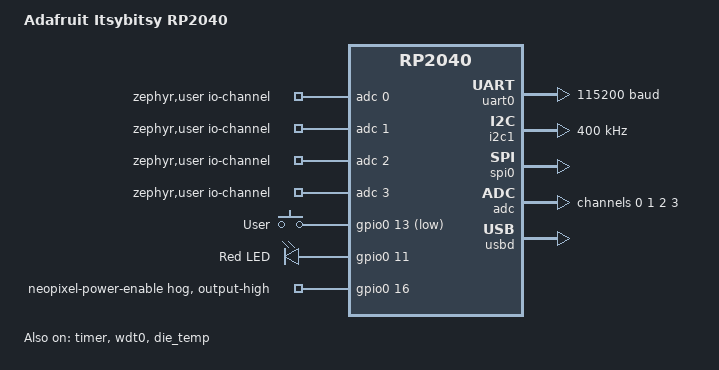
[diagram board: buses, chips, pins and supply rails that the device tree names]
/*
 * Copyright (c) 2021 Yonatan Schachter
 * Copyright (c) 2022 Peter Johanson
 * Copyright (c) 2025 Jonas Berg
 *
 * SPDX-License-Identifier: Apache-2.0
 */

/dts-v1/;

#include <raspberrypi/rpi_pico/rp2040.dtsi>
#include <dt-bindings/pinctrl/rpi-pico-rp2040-pinctrl.h>
#include <zephyr/dt-bindings/input/input-event-codes.h>
#include <zephyr/dt-bindings/led/led.h>
#include "adafruit_itsybitsy_rp2040-pinctrl.dtsi"

/ {
	model = "Adafruit Itsybitsy RP2040";
	compatible = "adafruit,itsybitsy_rp2040";

	chosen {
		zephyr,sram = &sram0;
		zephyr,flash = &flash0;
		zephyr,flash-controller = &ssi;
		zephyr,console = &uart0;
		zephyr,shell-uart = &uart0;
		zephyr,code-partition = &code_partition;
	};

	aliases {
		watchdog0 = &wdt0;
		led-strip = &ws2812;
		led0 = &red_led;
		sw0 = &user_button;
	};

	zephyr,user {
		io-channels = <&adc 0>, <&adc 1>, <&adc 2>, <&adc 3>;
	};

	gpio_keys {
		compatible = "gpio-keys";

		user_button: button {
			label = "User";
			gpios = <&gpio0 13 (GPIO_ACTIVE_LOW | GPIO_PULL_UP)>;
			zephyr,code = <INPUT_KEY_0>;
		};
	};

	leds: leds {
		compatible = "gpio-leds";

		red_led: red_led {
			gpios = <&gpio0 11 GPIO_ACTIVE_HIGH>;
			label = "Red LED";
		};
	};
};

&flash0 {
	reg = <0x10000000 DT_SIZE_M(8)>;

	partitions {
		compatible = "fixed-partitions";
		#address-cells = <1>;
		#size-cells = <1>;

		/* Reserved memory for the second stage bootloader */
		second_stage_bootloader: partition@0 {
			label = "second_stage_bootloader";
			reg = <0x00000000 0x100>;
			read-only;
		};

		/*
		 * Usable flash. Starts at 0x100, after the bootloader. The partition
		 * size is 8 MB minus the 0x100 bytes taken by the bootloader.
		 */
		code_partition: partition@100 {
			label = "code-partition";
			reg = <0x100 (DT_SIZE_M(8) - 0x100)>;
			read-only;
		};
	};
};

&gpio0 {
	status = "okay";

	/* Power to Neopixel */
	neopixel-power-enable {
		gpio-hog;
		gpios = <16 GPIO_ACTIVE_HIGH>;
		output-high;
	};
};

&uart0 {
	current-speed = <115200>;
	status = "okay";
	pinctrl-0 = <&uart0_default>;
	pinctrl-names = "default";
};

zephyr_i2c: &i2c1 {
	status = "okay";
	pinctrl-0 = <&i2c1_default>;
	pinctrl-names = "default";
	clock-frequency = <I2C_BITRATE_FAST>;
};

&spi0 {
	pinctrl-0 = <&spi0_default>;
	pinctrl-names = "default";
	status = "okay";
};

&timer {
	status = "okay";
};

&wdt0 {
	status = "okay";
};

&adc {
	status = "okay";
	pinctrl-0 = <&adc_default>;
	pinctrl-names = "default";
	#address-cells = <1>;
	#size-cells = <0>;

	channel@0 {
		reg = <0>;
		zephyr,gain = "ADC_GAIN_1";
		zephyr,reference = "ADC_REF_INTERNAL";
		zephyr,acquisition-time = <ADC_ACQ_TIME_DEFAULT>;
		zephyr,resolution = <12>;
	};

	channel@1 {
		reg = <1>;
		zephyr,gain = "ADC_GAIN_1";
		zephyr,reference = "ADC_REF_INTERNAL";
		zephyr,acquisition-time = <ADC_ACQ_TIME_DEFAULT>;
		zephyr,resolution = <12>;
	};

	channel@2 {
		reg = <2>;
		zephyr,gain = "ADC_GAIN_1";
		zephyr,reference = "ADC_REF_INTERNAL";
		zephyr,acquisition-time = <ADC_ACQ_TIME_DEFAULT>;
		zephyr,resolution = <12>;
	};

	channel@3 {
		reg = <3>;
		zephyr,gain = "ADC_GAIN_1";
		zephyr,reference = "ADC_REF_INTERNAL";
		zephyr,acquisition-time = <ADC_ACQ_TIME_DEFAULT>;
		zephyr,resolution = <12>;
	};
};

&pio0 {
	status = "okay";

	pio-ws2812 {
		compatible = "worldsemi,ws2812-rpi_pico-pio";
		status = "okay";
		pinctrl-0 = <&ws2812_pio0_default>;
		pinctrl-names = "default";
		bit-waveform = <3>, <3>, <4>;

		ws2812: ws2812 {
			status = "okay";
			gpios = <&gpio0 17 GPIO_ACTIVE_HIGH>;
			chain-length = <1>;
			color-mapping = <LED_COLOR_ID_GREEN
					 LED_COLOR_ID_RED
					 LED_COLOR_ID_BLUE>;
			reset-delay = <280>;
			frequency = <800000>;
		};
	};
};

zephyr_udc0: &usbd {
	status = "okay";
};

&die_temp {
	status = "okay";
};

&vreg {
	regulator-always-on;
	regulator-allowed-modes = <REGULATOR_RPI_PICO_MODE_NORMAL>;
};

&xosc {
	startup-delay-multiplier = <64>;
};
